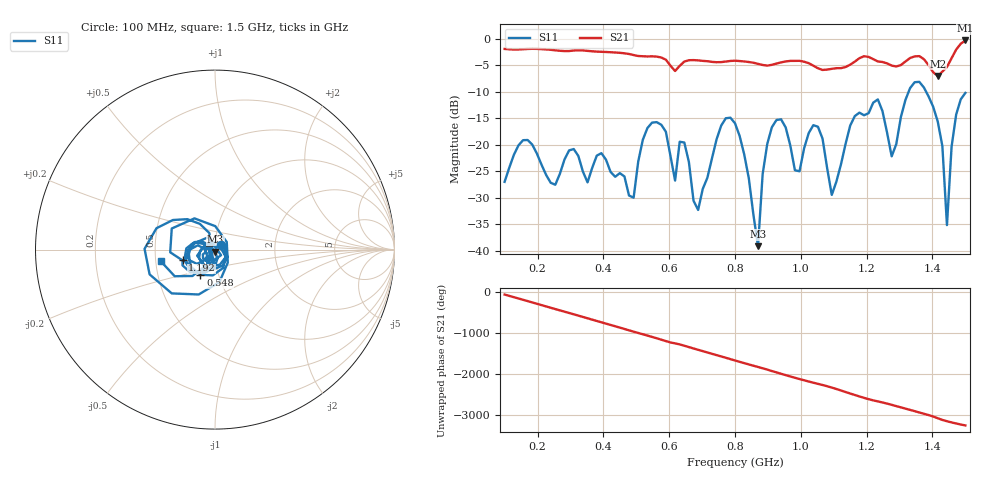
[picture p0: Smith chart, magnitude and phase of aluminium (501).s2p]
! NanoVNA-App
! Date: 2025-09-25 14:59:11
! Start: 100MHz Stop: 1,5GHz Points: 101
! S-Parameter data: F S11 S21 S12 S22
# Hz S RI R 50
!  Frequency  S11_Real  S11_Imag  S21_Real  S21_Imag  S12_Real  S12_Imag  S22_Real  S22_Imag
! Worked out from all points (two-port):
!   101 points, 100 MHz to 1.5 GHz, reference 50 ohm
!   highest |S21| = -0.32 dB at 1.5 GHz (marker M1); lowest = -7.0 dB at 1.416 GHz (marker M2)
!   |S21| within 3 dB of the highest: start of sweep to 528.6 MHz; 1.461 GHz to end of sweep (the widest 2 of 5)
!   lowest |S11| = -39.1 dB at 870 MHz (marker M3), VSWR 1.02, Z = 50.1 - j1.1 ohm
!   |S11| at or under -10 dB: start of sweep to 1.328 GHz; 1.381 GHz to end of sweep
!   S12 and S22 are empty: the file has one direction only
!   S11 on the Smith chart (normalised r, x): 100 MHz: 1.07, +0.06; 548 MHz: 0.82, -0.24; 1.192 GHz: 0.69, -0.09; 1.5 GHz: 0.53, -0.08
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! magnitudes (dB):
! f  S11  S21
! 100 MHz  -27.0  -1.9
! 156 MHz  -19.1  -2.0
! 338 MHz  -25.0  -2.2
! 492 MHz  -29.9  -3.1
! 548 MHz  -15.8  -3.3
! 576 MHz  -16.2  -3.5
! 646 MHz  -19.6  -4.3
! 688 MHz  -32.3  -4.1
! 800 MHz  -15.9  -4.1
! 870 MHz  -39.1  -4.7
! 912 MHz  -16.7  -4.9
! 996 MHz  -25.0  -4.2
! 1.038 GHz  -16.3  -5.1
! 1.094 GHz  -29.4  -5.7
! 1.192 GHz  -14.4  -3.3
! 1.234 GHz  -11.4  -4.3
! 1.276 GHz  -22.2  -5.1
! 1.346 GHz  -8.2  -3.3
! 1.416 GHz  -15.6  -7.0
! 1.444 GHz  -35.1  -5.3
! 1.458 GHz  -20.4  -3.7
! 1.5 GHz  -10.2  -0.3
